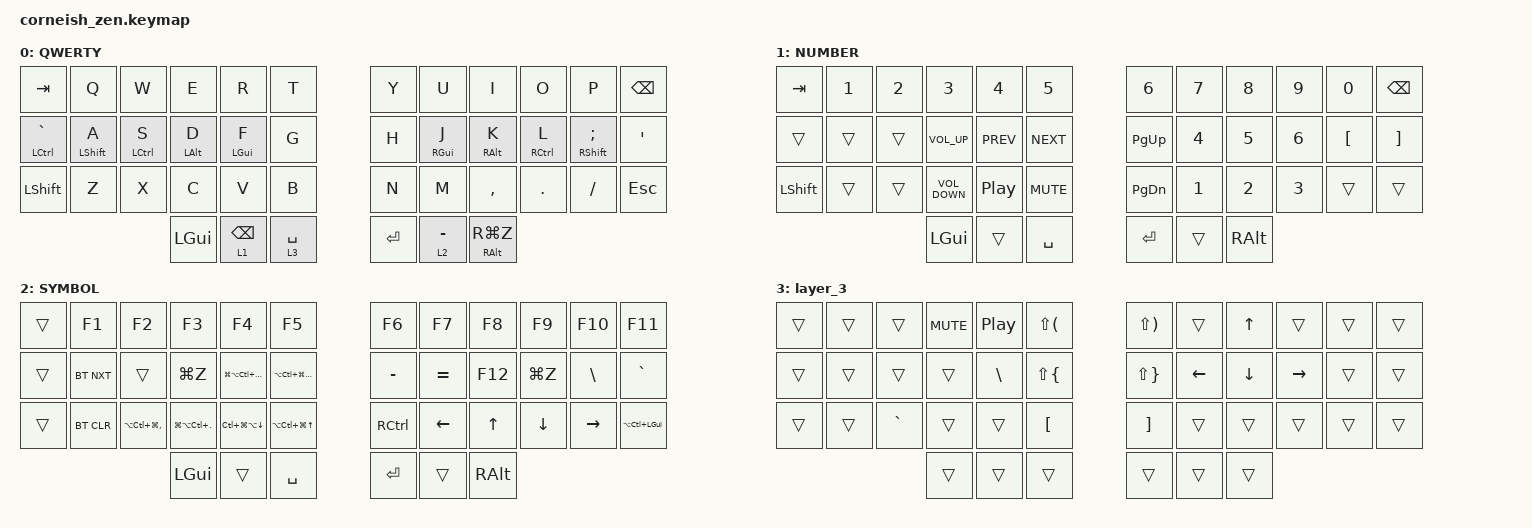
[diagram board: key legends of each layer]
/*
*
* Copyright (c) 2021 Darryl deHaan
* SPDX-License-Identifier: MIT
*
*/

#include <behaviors.dtsi>
#include <dt-bindings/zmk/bt.h>
#include <dt-bindings/zmk/keys.h>

/ {
    chosen {
        zmk,matrix_transform = &default_transform;

        //zmk,matrix_transform = &five_column_transform;
    };
};

/ {
    behaviors {
        magic: magic {
            compatible = "zmk,behavior-hold-tap";
            label = "MAGIC";
            bindings = <&kp>, <&kp>;

            #binding-cells = <2>;
            tapping-term-ms = <200>;
            flavor = "tap-preferred";
            hold-trigger-key-positions = <13 14 15 16 19 20 21 22>;
        };

        layer_tap: layer_tap {
            compatible = "zmk,behavior-hold-tap";
            label = "LAYER_TAP";
            bindings = <&mo>, <&kp>;

            #binding-cells = <2>;
            tapping-term-ms = <100>;
            flavor = "hold-preferred";
            hold-trigger-key-positions = <38 39 37 40>;
        };
    };

    keymap {
        compatible = "zmk,keymap";

        default_layer {
            label = "QWERTY";

            // -----------------------------------------------------------------------------------------
            // |  TAB |  Q  |  W  |  E  |  R  |  T  |   |  Y  |  U   |  I  |  O  |  P  | BKSP |
            // | CTRL |  A  |  S  |  D  |  F  |  G  |   |  H  |  J   |  K  |  L  |  ;  |  '   |
            // | SHFT |  Z  |  X  |  C  |  V  |  B  |   |  N  |  M   |  ,  |  .  |  /  | ESC  |
            //                    | GUI | LWR | SPC |   | ENT | RSE  | ALT |

            bindings = <
&kp TAB             &kp Q                &kp W           &kp E              &kp R                   &kp T                 &kp Y    &kp U               &kp I               &kp O           &kp P                    &kp BSPC
&magic LCTRL GRAVE  &magic LEFT_SHIFT A  &magic LCTRL S  &magic LEFT_ALT D  &magic LEFT_GUI F       &kp G                 &kp H    &magic RIGHT_GUI J  &magic RIGHT_ALT K  &magic RCTRL L  &magic RIGHT_SHIFT SEMI  &kp SQT
&kp LSHFT           &kp Z                &kp X           &kp C              &kp V                   &kp B                 &kp N    &kp M               &kp COMMA           &kp DOT         &kp FSLH                 &kp ESC
                                                         &kp LGUI           &layer_tap 1 BACKSPACE  &layer_tap 3 SPACE    &kp RET  &layer_tap 2 MINUS  &magic RALT RG(Z)
            >;
        };

        lower_layer {
            label = "NUMBER";

            // -----------------------------------------------------------------------------------------
            // |  TAB |  1  |  2  |  3  |  4  |  5  |   |  6  |  7  |  8  |  9  |  0  | BKSP |
            // | BTCLR| BT1 | BT2 | BT3 | BT4 | BT5 |   | LFT | DWN |  UP | RGT |     |      |
            // | SHFT |     |     |     |     |     |   |     |     |     |     |     |      |
            //                    | GUI |     | SPC |   | ENT |     | ALT |

            bindings = <
&kp TAB    &kp N1  &kp N2  &kp N3             &kp N4            &kp N5        &kp N6     &kp N7        &kp N8        &kp N9        &kp N0            &kp BSPC
&trans     &trans  &trans  &kp C_VOL_UP       &kp C_PREV        &kp C_NEXT    &kp PG_UP  &kp NUMBER_4  &kp NUMBER_5  &kp NUMBER_6  &kp LEFT_BRACKET  &kp RIGHT_BRACKET
&kp LSHFT  &trans  &trans  &kp C_VOLUME_DOWN  &kp C_PLAY_PAUSE  &kp C_MUTE    &kp PG_DN  &kp NUMBER_1  &kp NUMBER_2  &kp NUMBER_3  &trans            &trans
                           &kp LGUI           &trans            &kp SPACE     &kp RET    &trans        &kp RALT
            >;
        };

        raise_layer {
            label = "SYMBOL";

            // -----------------------------------------------------------------------------------------
            // |  TAB |  !  |  @  |  #  |  $  |  %  |   |  ^  |  &  |  *  |  (  |  )  | BKSP |
            // | CTRL |     |     |     |     |     |   |  -  |  =  |  [  |  ]  |  \  |  `   |
            // | SHFT |     |     |     |     |     |   |  _  |  +  |  {  |  }  | "|" |  ~   |
            //                    | GUI |     | SPC |   | ENT |     | ALT |

            bindings = <
&trans  &kp F1      &kp F2                 &kp F3                  &kp F4                    &kp F5                          &kp F6     &kp F7     &kp F8    &kp F9     &kp F10        &kp F11
&trans  &bt BT_NXT  &trans                 &kp LG(Z)               &kp LG(LA(LC(LS(DOWN))))  &kp LA(LC(LG(LS(UP_ARROW))))    &kp MINUS  &kp EQUAL  &kp F12   &kp LG(Z)  &kp BACKSLASH  &kp GRAVE
&trans  &bt BT_CLR  &kp LA(LC(LG(COMMA)))  &kp LG(LA(LC(PERIOD)))  &kp LC(LG(LA(DOWN)))      &kp LA(LC(LG(UP_ARROW)))        &kp RCTRL  &kp LEFT   &kp UP    &kp DOWN   &kp RIGHT      &kp LA(LC(LEFT_GUI))
                                           &kp LGUI                &trans                    &kp SPACE                       &kp RET    &trans     &kp RALT
            >;
        };

        layer_3 {
            bindings = <
&trans  &trans  &trans     &kp C_MUTE  &kp C_PLAY_PAUSE  &kp LS(LPAR)    &kp LS(RPAR)  &trans          &kp UP    &trans     &trans  &trans
&trans  &trans  &trans     &trans      &kp BSLH          &kp LS(LBRC)    &kp LS(RBRC)  &kp LEFT_ARROW  &kp DOWN  &kp RIGHT  &trans  &trans
&trans  &trans  &kp GRAVE  &trans      &trans            &kp LBKT        &kp RBKT      &trans          &trans    &trans     &trans  &trans
                           &trans      &trans            &trans          &trans        &trans          &trans
            >;
        };
    };
};
